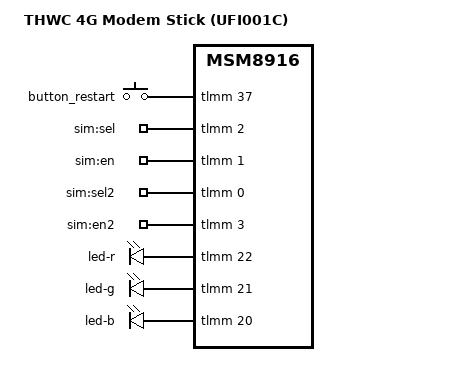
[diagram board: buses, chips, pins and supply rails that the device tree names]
// SPDX-License-Identifier: GPL-2.0-only

/dts-v1/;

#include "msm8916-ufi.dtsi"

/ {
	model = "THWC 4G Modem Stick (UFI001C)";
	compatible = "thwc,ufi001c", "qcom,msm8916";
};

&button_restart {
	gpios = <&tlmm 37 GPIO_ACTIVE_HIGH>;
};

&button_default {
	pins = "gpio37";
	bias-pull-down;
};


&leds {
	sim-sel {
		label = "sim:sel";
		gpios = <&tlmm 2 GPIO_ACTIVE_HIGH>;
		default-state = "on";
	};

	sim-en {
		label = "sim:en";
		gpios = <&tlmm 1 GPIO_ACTIVE_HIGH>;
		default-state = "off";
	};

	sim-sel2 {
		label = "sim:sel2";
		gpios = <&tlmm 0 GPIO_ACTIVE_HIGH>;
		default-state = "off";
	};

	sim-en2 {
		label = "sim:en2";
		gpios = <&tlmm 3 GPIO_ACTIVE_HIGH>;
		default-state = "off";
	};

	led-r {
		gpios = <&tlmm 22 GPIO_ACTIVE_HIGH>;
	};

	led-g {
		gpios = <&tlmm 21 GPIO_ACTIVE_HIGH>;
	};

	led-b {
		gpios = <&tlmm 20 GPIO_ACTIVE_HIGH>;
	};

};

&gpio_leds_default {
	pins = "gpio0","gpio1","gpio2","gpio3","gpio20", "gpio21", "gpio22";
};
